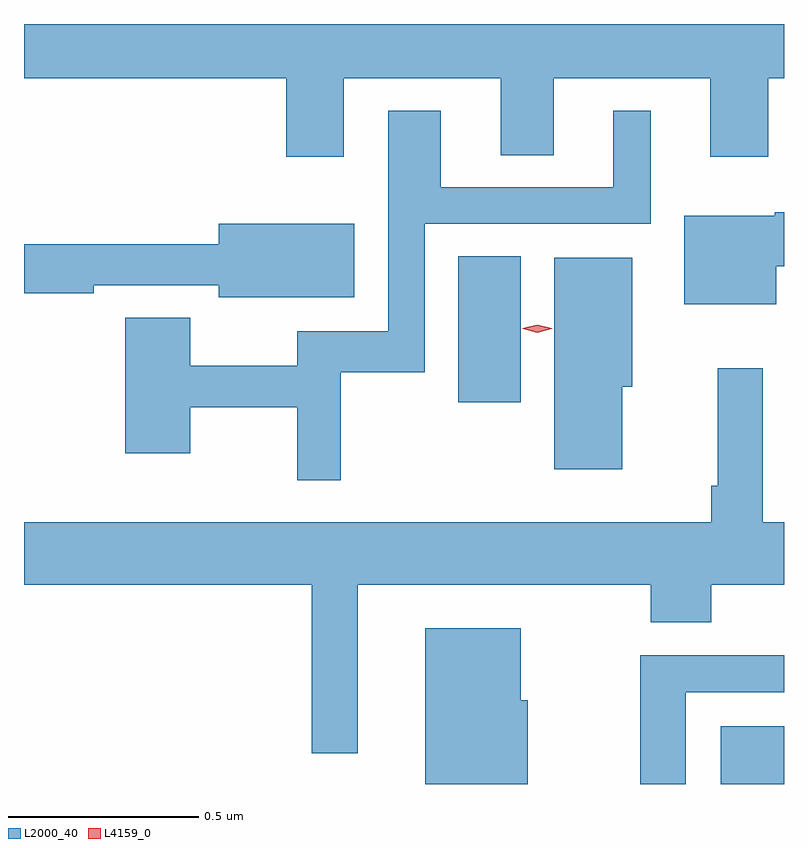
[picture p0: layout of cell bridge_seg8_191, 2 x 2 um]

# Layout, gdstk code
import gdstk
lib = gdstk.Library(unit=1e-6, precision=1e-09)
def R(c, l, rs):  # rectangles x0, y0, x1, y1
    for r in rs: c.add(gdstk.rectangle(r[:2], r[2:], *l))
def P(c, l, *ps):  # polygons
    for p in ps: c.add(gdstk.Polygon(p, *l))
L2000_40 = (2000, 40)
L4159_0 = (4159, 0)

bridge_seg8_191 = lib.new_cell('bridge_seg8_191')
R(bridge_seg8_191, L2000_40, [(267.686,1113.311,267.853,1113.463), (266.996,1114.316,267.16,1114.7)])
P(bridge_seg8_191, L2000_40, [(266.695,1115.168),(267.107,1115.168),(267.107,1114.966),(267.247,1114.966),(267.247,1115.168),(267.659,1115.168),(267.659,1114.962),(267.812,1114.962),(267.812,1115.168),(267.853,1115.168),(267.853,1115.311),(265.853,1115.311),(265.853,1115.168),(266.543,1115.168),(266.543,1114.962),(266.695,1114.962)],
  [(266.686,1114.395),(266.907,1114.395),(266.907,1114.785),(267.502,1114.785),(267.502,1115.083),(267.404,1115.083),(267.404,1114.881),(266.95,1114.881),(266.95,1115.083),(266.811,1115.083),(266.811,1114.503),(266.572,1114.503),(266.572,1114.412),(266.29,1114.412),(266.29,1114.538),(266.12,1114.538),(266.12,1114.182),(266.29,1114.182),(266.29,1114.302),(266.572,1114.302),(266.572,1114.11),(266.686,1114.11)],
  [(267.832,1114.673),(267.853,1114.673),(267.853,1114.815),(267.828,1114.815),(267.828,1114.807),(267.59,1114.807),(267.59,1114.574),(267.832,1114.574)],
  [(266.722,1114.786),(266.366,1114.786),(266.366,1114.732),(265.853,1114.732),(265.853,1114.603),(266.036,1114.603),(266.036,1114.623),(266.366,1114.623),(266.366,1114.592),(266.722,1114.592)],
  [(267.427,1114.356),(267.454,1114.356),(267.454,1114.696),(267.248,1114.696),(267.248,1114.139),(267.427,1114.139)],
  [(266.731,1113.836),(267.502,1113.836),(267.502,1113.737),(267.662,1113.737),(267.662,1113.836),(267.853,1113.836),(267.853,1114),(267.797,1114),(267.797,1114.405),(267.679,1114.405),(267.679,1114.096),(267.661,1114.096),(267.661,1114),(265.853,1114),(265.853,1113.836),(266.61,1113.836),(266.61,1113.392),(266.731,1113.392)],
  [(267.178,1113.531),(267.16,1113.531),(267.16,1113.721),(266.909,1113.721),(266.909,1113.311),(267.178,1113.311)],
  [(267.595,1113.552),(267.853,1113.552),(267.853,1113.65),(267.475,1113.65),(267.475,1113.311),(267.595,1113.311)])
P(bridge_seg8_191, L4159_0, [(267.204,1114.499),(267.165,1114.509),(267.165,1114.509),(267.165,1114.51),(267.204,1114.519),(267.242,1114.51),(267.243,1114.509),(267.242,1114.509)])

lib.write_gds('bridge_seg8_191.gds')
